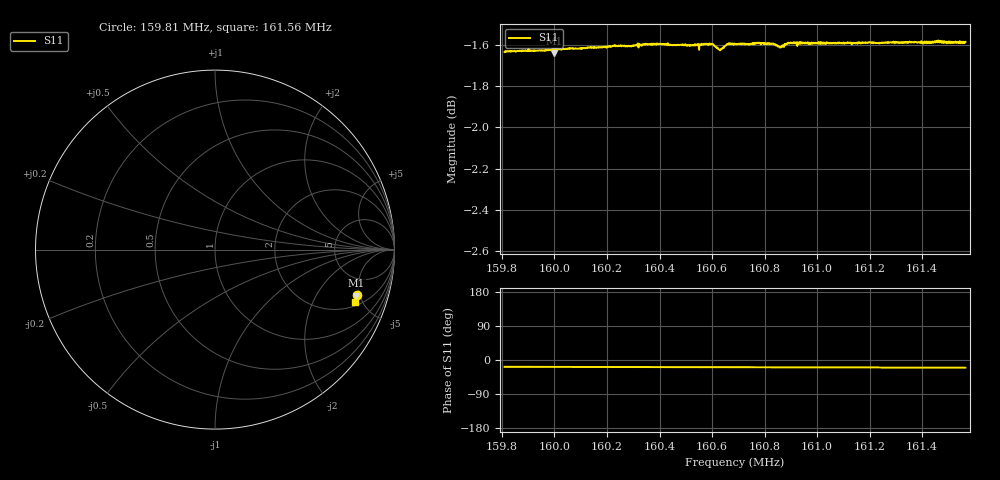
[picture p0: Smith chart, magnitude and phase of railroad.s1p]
! Calibrated averaged scanner-service zoom
# Hz S RI R 50
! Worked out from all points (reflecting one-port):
!   1001 points, 159.81 MHz to 161.56 MHz, reference 50 ohm
!   lowest |S11| = -1.6 dB at 160 MHz (marker M1), VSWR 10.63, Z = 141 - j230 ohm
!   phase of S11 starts at -18 deg and turns -2 deg over the sweep
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1.5981e8  0.7884 -0.255
1.599609e8  0.7881 -0.2576
1.599995e8  0.7869 -0.2576
1.600294e8  0.7882 -0.2597
1.601434e8  0.7881 -0.2624
1.602488e8  0.7883 -0.2642
1.602874e8  0.7881 -0.2649
1.603488e8  0.7888 -0.2661
1.604681e8  0.7873 -0.2688
1.605225e8  0.7872 -0.2685
1.605962e8  0.7873 -0.2699
1.60605e8  0.787 -0.27
1.606243e8  0.7855 -0.268
1.606313e8  0.785 -0.2678
1.606629e8  0.7867 -0.2716
1.606875e8  0.7868 -0.2716
1.607437e8  0.7865 -0.2727
1.607752e8  0.7869 -0.2733
1.608244e8  0.7859 -0.2744
1.608595e8  0.7832 -0.2768
1.608823e8  0.7852 -0.2761
1.609069e8  0.7859 -0.2758
1.611262e8  0.7844 -0.2796
1.613456e8  0.7831 -0.2844
1.614281e8  0.7822 -0.2858
1.614615e8  0.7825 -0.2883
1.61486e8  0.7818 -0.2877
1.61565e8  0.7813 -0.29
